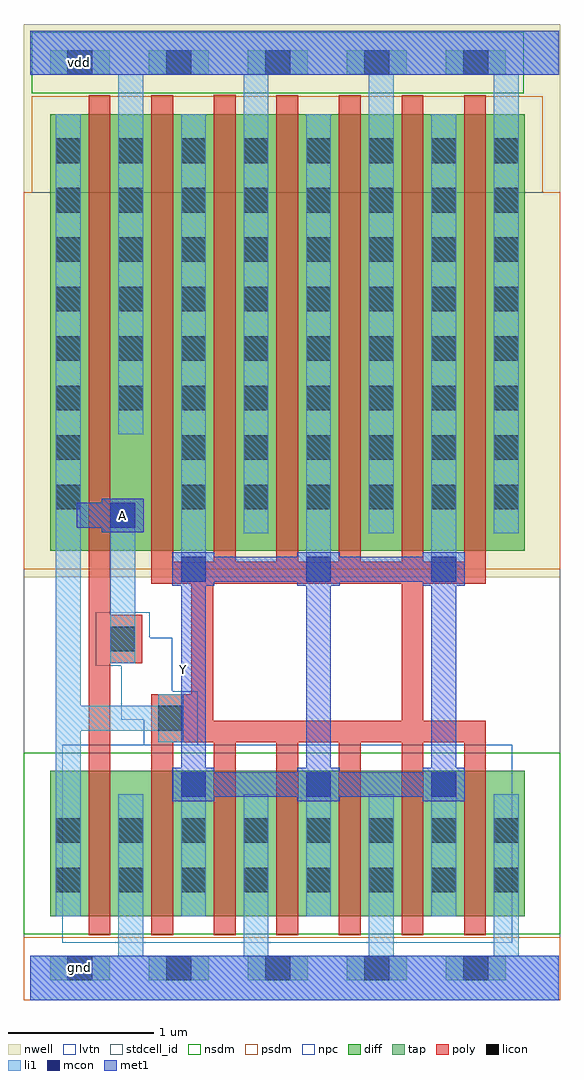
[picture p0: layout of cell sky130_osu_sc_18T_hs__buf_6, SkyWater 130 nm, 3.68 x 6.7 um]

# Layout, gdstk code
import gdstk
lib = gdstk.Library(unit=1e-6, precision=1e-09)
def R(c, l, rs):  # rectangles x0, y0, x1, y1
    for r in rs: c.add(gdstk.rectangle(r[:2], r[2:], *l))
def A(c, l, x, y, w, h, nx, ny, dx, dy):  # array of equal rectangles
    R(c, l, [(x+i*dx, y+j*dy, x+i*dx+w, y+j*dy+h) for i in range(nx) for j in range(ny)])
nwell = (64, 20)
diff = (65, 20)
tap = (65, 44)
poly = (66, 20)
licon = (66, 44)
li1 = (67, 20)
mcon = (67, 44)
met1 = (68, 20)
stdcell_id = (81, 4)
nsdm = (93, 44)
psdm = (94, 20)
npc = (95, 20)
lvtn = (125, 44)

sky130_osu_sc_18t_hs__bu = lib.new_cell('sky130_osu_sc_18T_hs__buf_6')
R(sky130_osu_sc_18t_hs__bu, nwell, [(-0.045,2.905,3.64,6.705)])
R(sky130_osu_sc_18t_hs__bu, diff, [(0.135,0.575,3.395,1.575), (0.135,3.085,3.395,6.085)])
A(sky130_osu_sc_18t_hs__bu, tap, 0.135, 0.135, 0.41, 0.17, 5, 2, 0.68, 6.22)
A(sky130_osu_sc_18t_hs__bu, poly, 0.83, 0.445, 0.15, 1.325, 6, 1, 0.43, 0)
A(sky130_osu_sc_18t_hs__bu, poly, 1.69, 3.01, 0.15, 3.205, 4, 1, 0.43, 0)
R(sky130_osu_sc_18t_hs__bu, poly, [(0.4,0.445,0.55,2.315), (0.83,1.77,3.13,1.92), (0.83,1.92,1.255,2.1), (2.55,1.92,2.7,2.86), (1.105,2.1,1.255,2.86), (0.4,2.315,0.77,2.645), (0.4,2.645,0.55,6.215), (0.83,2.86,3.13,3.01), (0.83,3.01,0.98,6.215), (1.26,3.01,1.41,6.22)])
A(sky130_osu_sc_18t_hs__bu, licon, 0.255, 0.135, 0.17, 0.17, 5, 2, 0.68, 6.22)
A(sky130_osu_sc_18t_hs__bu, licon, 0.175, 0.74, 0.17, 0.17, 8, 2, 0.43, 0.34)
A(sky130_osu_sc_18t_hs__bu, licon, 1.035, 3.37, 0.17, 0.17, 6, 2, 0.43, 0.34)
A(sky130_osu_sc_18t_hs__bu, licon, 0.175, 4.05, 0.17, 0.17, 8, 6, 0.43, 0.34)
R(sky130_osu_sc_18t_hs__bu, licon, [(0.88,1.85,1.05,2.02), (0.55,2.395,0.72,2.565), (0.175,3.37,0.345,3.54), (0.175,3.71,0.345,3.88)])
A(sky130_osu_sc_18t_hs__bu, li1, 0.605, 0.305, 0.17, 1.11, 4, 1, 0.86, 0)
A(sky130_osu_sc_18t_hs__bu, li1, 1.035, 0.575, 0.17, 0.99, 3, 1, 0.86, 0)
A(sky130_osu_sc_18t_hs__bu, li1, 1.035, 2.875, 0.17, 3.21, 3, 1, 0.86, 0)
A(sky130_osu_sc_18t_hs__bu, li1, 1.465, 3.205, 0.17, 3.15, 3, 1, 0.86, 0)
R(sky130_osu_sc_18t_hs__bu, li1, [(0,0,3.63,0.305), (0.175,0.575,0.345,1.85), (0.88,1.77,1.05,1.85), (0.175,1.85,1.05,2.02), (0.175,2.02,0.345,6.085), (0.88,2.02,1.05,2.1), (0.55,2.315,0.72,3.415), (0.605,3.885,0.775,6.355), (0,6.355,3.63,6.66)])
A(sky130_osu_sc_18t_hs__bu, mcon, 1.035, 1.395, 0.17, 0.17, 3, 2, 0.86, 1.48)
R(sky130_osu_sc_18t_hs__bu, mcon, [(0.55,3.245,0.72,3.415)])
A(sky130_osu_sc_18t_hs__bu, met1, 0.975, 1.365, 0.29, 0.03, 3, 2, 0.86, 0.2)
A(sky130_osu_sc_18t_hs__bu, met1, 1.035, 1.595, 0.17, 1.25, 3, 1, 0.86, 0)
A(sky130_osu_sc_18t_hs__bu, met1, 0.975, 2.845, 0.29, 0.03, 3, 2, 0.86, 0.2)
R(sky130_osu_sc_18t_hs__bu, met1, [(0,0,3.63,0.305), (0.975,1.395,2.985,1.565), (0.975,2.875,2.985,3.045), (0.49,3.215,0.78,3.245), (0.32,3.245,0.78,3.415), (0.49,3.415,0.78,3.445), (0,6.355,3.63,6.66)])
R(sky130_osu_sc_18t_hs__bu, stdcell_id, [(-0.045,0,3.64,5.55)])
R(sky130_osu_sc_18t_hs__bu, nsdm, [(-0.045,0.45,3.64,1.7), (0.01,6.23,3.39,6.65)])
R(sky130_osu_sc_18t_hs__bu, psdm, [(-0.045,0,3.64,0.43), (-0.045,2.96,3.64,5.55), (0.01,5.55,3.52,6.21)])
R(sky130_osu_sc_18t_hs__bu, npc, [(0.78,1.75,1.15,1.925), (0.625,1.925,1.15,2.12), (0.625,2.12,0.975,2.295), (0.45,2.295,0.975,2.49), (0.45,2.49,0.82,2.665)])
R(sky130_osu_sc_18t_hs__bu, lvtn, [(0.22,0.395,3.31,1.755)])
sky130_osu_sc_18t_hs__bu.add(gdstk.Label('gnd', (0.34,0.22), layer=68, texttype=16))
sky130_osu_sc_18t_hs__bu.add(gdstk.Label('vdd', (0.34,6.44), layer=68, texttype=16))
sky130_osu_sc_18t_hs__bu.add(gdstk.Label('A', (0.635,3.33), layer=68, texttype=5))
sky130_osu_sc_18t_hs__bu.add(gdstk.Label('Y', (1.055,2.27), layer=68, texttype=5))

lib.write_gds('sky130_osu_sc_18T_hs__buf_6.gds')
